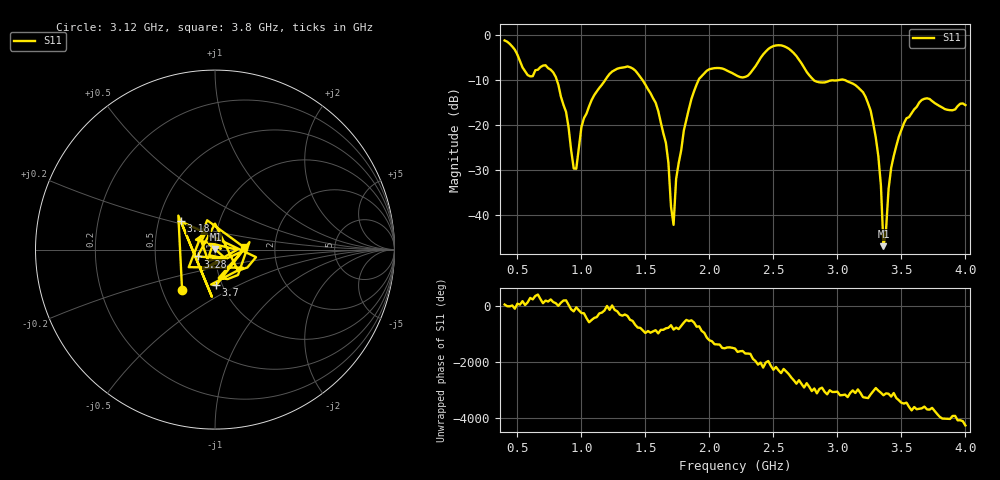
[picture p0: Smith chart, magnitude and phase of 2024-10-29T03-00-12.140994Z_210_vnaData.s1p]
!Created with skrf (http://scikit-rf.org).
# Hz S RI R 50.0
!freq ReS11 ImS11
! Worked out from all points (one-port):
!   181 points, 400 MHz to 4 GHz, reference 50 ohm
!   lowest |S11| = -46.8 dB at 3.36 GHz (marker M1), VSWR 1.01, Z = 50.2 + j0.387 ohm
!   |S11| at or under -10 dB: 808 MHz to 1.186 GHz (377.8 MHz wide, 37.9 % of centre); 1.478 GHz to 1.915 GHz (437.6 MHz wide, 25.8 % of centre); 3.06 GHz to end of sweep (the widest 3 of 4)
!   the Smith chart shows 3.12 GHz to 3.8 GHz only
!   S11 on the Smith chart (normalised r, x): 3.12 GHz: 0.63, -0.31; 3.18 GHz: 0.65, +0.22; 3.28 GHz: 0.82, -0.06; 3.7 GHz: 0.94, -0.39; 3.8 GHz: 1.39, +0.04
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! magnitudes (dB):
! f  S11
! 400 MHz  -1.2
! 580 MHz  -8.9
! 780 MHz  -8.3
! 860 MHz  -15.5
! 960 MHz  -29.7
! 1 GHz  -20.4
! 1.08 GHz  -14.4
! 1.3 GHz  -7.3
! 1.58 GHz  -15.0
! 1.66 GHz  -23.9
! 1.72 GHz  -42.1
! 1.74 GHz  -31.9
! 1.76 GHz  -28.4
! 1.92 GHz  -9.7
! 2.2 GHz  -8.8
! 2.66 GHz  -4.0
! 2.82 GHz  -10.1
! 3.1 GHz  -10.5
! 3.12 GHz  -10.8
! 3.18 GHz  -12.1
! 3.28 GHz  -19.6
! 3.34 GHz  -33.4
! 3.36 GHz  -46.8
! 3.42 GHz  -29.5
! 3.56 GHz  -18.2
! 3.7 GHz  -14.0
! 3.8 GHz  -15.8
! 4 GHz  -15.5
